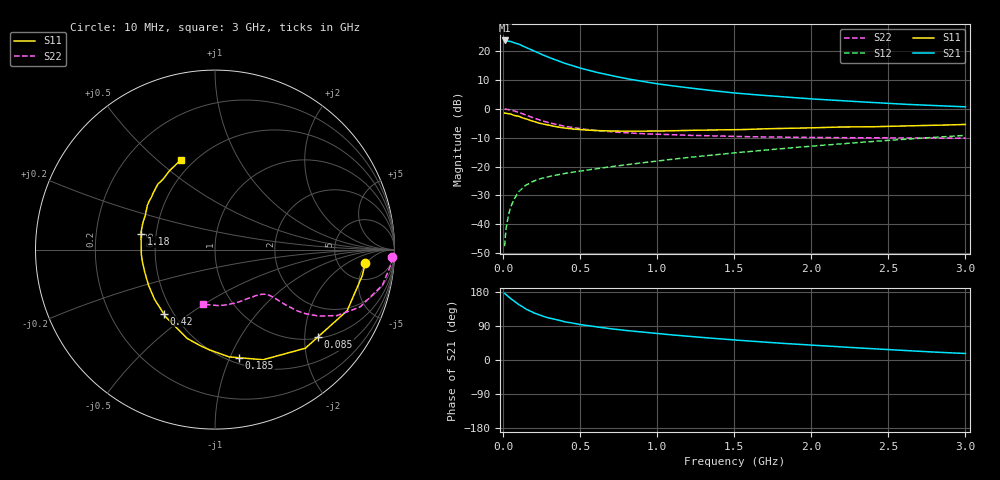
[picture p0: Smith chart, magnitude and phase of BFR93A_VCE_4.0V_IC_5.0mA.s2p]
! Infineon Technologies  Discrete & RF Semiconductors
! BFR93A
! VCE =  4.0 V,  IC =  5.0 mA
! Common Emitter S-Parameters:  Nov 2015
# GHz  S  MA  R  50
!  f  S11  S21  S12  S22
! GHz  MAG  ANG  MAG  ANG  MAG  ANG  MAG  ANG
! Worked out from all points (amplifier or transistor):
!   180 points, 10 MHz to 3 GHz, reference 50 ohm
!   highest |S21| = 23.6 dB at 10 MHz (marker M1)
!   |S21| within 3 dB of that: start of sweep to 173.9 MHz
!   unconditionally stable (mu >= 1): 751 MHz to 2.699 GHz
!   at 160 MHz: K = 0.34, MSG = 23.5 dB, |S12| = -26.1 dB
!   at 1.22 GHz: K = 1.11, MAG = 9.9 dB, |S12| = -16.8 dB
!   at 3 GHz: K = 0.96, MSG = 4.9 dB, |S12| = -9.2 dB
!   S11 on the Smith chart (normalised r, x): 10 MHz: 9, -5; 85 MHz: 1.04, -2.33; 185 MHz: 0.56, -1.08; 420 MHz: 0.44, -0.40; 1.18 GHz: 0.41, +0.09; 3 GHz: 0.43, +0.60
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0.01  0.8412 -5.1  15.16 176.0  0.0042 87.1  0.989 -2.5
0.025  0.826 -12.4  14.93 170.7  0.0104 81.8  0.9777 -6.1
0.05  0.8111 -24.8  14.54 161.7  0.02 77.2  0.9536 -12.0
0.085  0.7521 -40.3  13.47 151.5  0.0314 68.9  0.8918 -18.5
0.1  0.7453 -47.5  13.16 146.7  0.0364 67.0  0.8692 -21.6
0.15  0.6696 -66.4  11.48 134.0  0.048 59.4  0.773 -28.4
0.185  0.6173 -77.4  10.4 127.5  0.0538 56.1  0.7145 -31.2
0.2  0.6026 -82.6  9.989 124.3  0.0563 54.9  0.69 -32.5
0.24  0.5591 -93.2  8.948 118.2  0.0613 52.4  0.6356 -34.6
0.3  0.5186 -107.4  7.667 110.5  0.0672 50.4  0.5704 -36.7
0.4  0.4652 -125.9  6.102 100.8  0.076 49.5  0.4966 -38.1
0.42  0.4572 -128.7  5.885 99.6  0.0775 49.6  0.4875 -38.2
0.52  0.4318 -142.7  4.898 92.5  0.0851 50.0  0.445 -38.8
0.6  0.4202 -151.9  4.304 87.6  0.0913 50.9  0.4201 -39.2
0.7  0.4119 -160.9  3.743 82.4  0.0994 52.1  0.399 -39.9
0.9  0.4114 -176.2  2.973 73.8  0.1159 54.2  0.3711 -41.9
1.02  0.4118 176.5  2.655 69.0  0.1266 55.0  0.3608 -43.6
1.18  0.4214 168.0  2.338 63.3  0.1415 55.9  0.3486 -46.6
1.52  0.4339 153.3  1.854 52.3  0.1743 56.7  0.3315 -54.0
2.02  0.4686 136.8  1.469 38.7  0.2272 55.5  0.3183 -67.9
2.52  0.4979 122.9  1.23 27.1  0.2862 52.2  0.3125 -83.9
3  0.5349 110.9  1.078 17.2  0.3459 47.5  0.3105 -102.6
